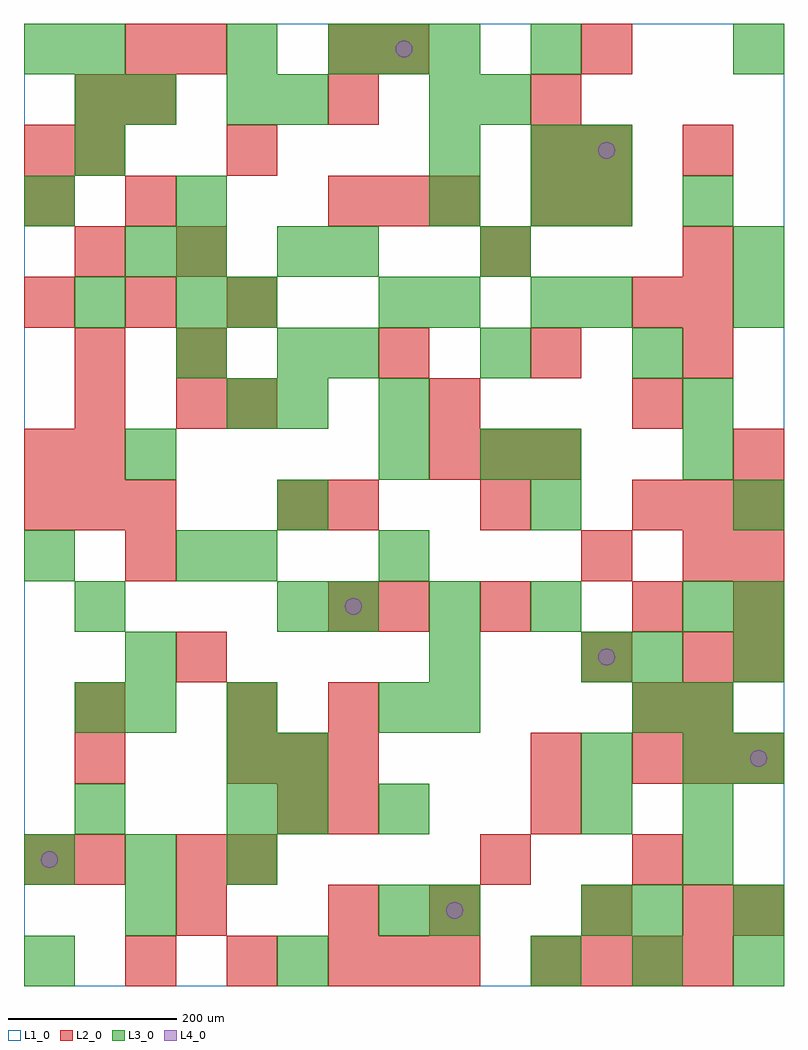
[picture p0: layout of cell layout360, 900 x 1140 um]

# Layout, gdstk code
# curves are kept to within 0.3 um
import gdstk
lib = gdstk.Library(unit=1e-6, precision=1e-09)
def R(c, l, rs):  # rectangles x0, y0, x1, y1
    for r in rs: c.add(gdstk.rectangle(r[:2], r[2:], *l))
def A(c, l, x, y, w, h, nx, ny, dx, dy):  # array of equal rectangles
    R(c, l, [(x+i*dx, y+j*dy, x+i*dx+w, y+j*dy+h) for i in range(nx) for j in range(ny)])
def P(c, l, *ps):  # polygons
    for p in ps: c.add(gdstk.Polygon(p, *l))
L1_0 = (1, 0)
L2_0 = (2, 0)
L3_0 = (3, 0)
L4_0 = (4, 0)

layout360 = lib.new_cell('layout360')
R(layout360, L1_0, [(0,0,900,1140)])
A(layout360, L2_0, 120, 0, 60, 60, 3, 1, 120, 0)
A(layout360, L2_0, 600, 0, 60, 60, 4, 1, 60, 0)
A(layout360, L2_0, 360, 60, 60, 60, 1, 4, 0, 120)
A(layout360, L2_0, 240, 240, 60, 60, 3, 1, 60, 0)
A(layout360, L2_0, 720, 240, 60, 60, 3, 1, 60, 0)
A(layout360, L2_0, 840, 360, 60, 60, 1, 5, 0, 60)
A(layout360, L2_0, 0, 540, 60, 60, 3, 1, 60, 0)
A(layout360, L2_0, 360, 540, 60, 60, 3, 1, 180, 0)
A(layout360, L2_0, 60, 600, 60, 60, 1, 3, 0, 60)
A(layout360, L2_0, 480, 600, 60, 60, 3, 1, 60, 0)
A(layout360, L2_0, 240, 660, 60, 60, 3, 1, 240, 0)
A(layout360, L2_0, 420, 720, 60, 60, 3, 1, 180, 0)
A(layout360, L2_0, 0, 780, 60, 60, 3, 1, 120, 0)
A(layout360, L2_0, 360, 900, 60, 60, 3, 1, 60, 0)
A(layout360, L2_0, 120, 1020, 60, 60, 3, 1, 240, 0)
R(layout360, L2_0, [(420,0,480,60), (480,0,540,60), (180,60,240,120), (480,60,540,120), (660,60,720,120), (780,60,840,120), (840,60,900,120), (0,120,60,180), (60,120,120,180), (180,120,240,180), (240,120,300,180), (540,120,600,180), (720,120,780,180), (300,180,360,240), (600,180,660,240), (60,240,120,300), (600,240,660,300), (60,300,120,360), (240,300,300,360), (720,300,780,360), (780,300,840,360), (180,360,240,420), (660,360,720,420), (780,360,840,420), (420,420,480,480), (540,420,600,480), (720,420,780,480), (120,480,180,540), (660,480,720,540), (780,480,840,540), (300,540,360,600), (780,540,840,600), (0,600,60,660), (180,660,240,720), (180,720,240,780), (720,780,780,840), (780,780,840,840), (60,840,120,900), (180,840,240,900), (540,840,600,900), (780,840,840,900), (0,900,60,960), (120,900,180,960), (600,900,660,960), (660,900,720,960), (0,960,60,1020), (60,960,120,1020), (240,960,300,1020), (600,960,660,1020), (660,960,720,1020), (780,960,840,1020), (60,1020,120,1080), (120,1080,180,1140), (180,1080,240,1140), (360,1080,420,1140), (420,1080,480,1140), (660,1080,720,1140)])
A(layout360, L3_0, 0, 0, 60, 60, 3, 1, 300, 0)
A(layout360, L3_0, 420, 60, 60, 60, 1, 3, 0, 120)
A(layout360, L3_0, 0, 120, 60, 60, 3, 1, 120, 0)
A(layout360, L3_0, 780, 120, 60, 60, 1, 4, 0, 60)
A(layout360, L3_0, 60, 180, 60, 60, 1, 3, 0, 120)
A(layout360, L3_0, 240, 180, 60, 60, 1, 3, 0, 60)
A(layout360, L3_0, 120, 360, 60, 60, 1, 3, 0, 240)
A(layout360, L3_0, 300, 420, 60, 60, 1, 3, 0, 120)
A(layout360, L3_0, 360, 420, 60, 60, 3, 1, 120, 0)
A(layout360, L3_0, 180, 720, 60, 60, 1, 4, 0, 60)
A(layout360, L3_0, 360, 720, 60, 60, 3, 1, 180, 0)
A(layout360, L3_0, 480, 900, 60, 60, 1, 3, 0, 60)
A(layout360, L3_0, 60, 960, 60, 60, 1, 3, 0, 60)
A(layout360, L3_0, 360, 1080, 60, 60, 3, 1, 60, 0)
R(layout360, L3_0, [(720,0,780,60), (840,0,900,60), (120,60,180,120), (480,60,540,120), (660,60,720,120), (720,60,780,120), (840,60,900,120), (300,180,360,240), (660,180,720,240), (300,240,360,300), (660,240,720,300), (840,240,900,300), (120,300,180,360), (480,300,540,360), (720,300,780,360), (480,360,540,420), (660,360,720,420), (720,360,780,420), (840,360,900,420), (780,420,840,480), (840,420,900,480), (0,480,60,540), (180,480,240,540), (240,480,300,540), (420,480,480,540), (600,540,660,600), (840,540,900,600), (420,600,480,660), (540,600,600,660), (600,600,660,660), (780,600,840,660), (240,660,300,720), (420,660,480,720), (780,660,840,720), (300,720,360,780), (60,780,120,840), (240,780,300,840), (420,780,480,840), (480,780,540,840), (600,780,660,840), (660,780,720,840), (840,780,900,840), (300,840,360,900), (360,840,420,900), (540,840,600,900), (840,840,900,900), (0,900,60,960), (600,900,660,960), (660,900,720,960), (780,900,840,960), (600,960,660,1020), (660,960,720,1020), (120,1020,180,1080), (240,1020,300,1080), (300,1020,360,1080), (540,1020,600,1080), (0,1080,60,1140), (240,1080,300,1140), (600,1080,660,1140), (840,1080,900,1140)])
P(layout360, L4_0, [(40,150),(39.239,153.827),(37.071,157.071),(33.827,159.239),(30,160),(26.173,159.239),(22.929,157.071),(20.761,153.827),(20,150),(20.761,146.173),(22.929,142.929),(26.173,140.761),(30,140),(33.827,140.761),(37.071,142.929),(39.239,146.173)],
  [(400,450),(399.239,453.827),(397.071,457.071),(393.827,459.239),(390,460),(386.173,459.239),(382.929,457.071),(380.761,453.827),(380,450),(380.761,446.173),(382.929,442.929),(386.173,440.761),(390,440),(393.827,440.761),(397.071,442.929),(399.239,446.173)],
  [(460,1110),(459.239,1113.827),(457.071,1117.071),(453.827,1119.239),(450,1120),(446.173,1119.239),(442.929,1117.071),(440.761,1113.827),(440,1110),(440.761,1106.173),(442.929,1102.929),(446.173,1100.761),(450,1100),(453.827,1100.761),(457.071,1102.929),(459.239,1106.173)],
  [(520,90),(519.239,93.827),(517.071,97.071),(513.827,99.239),(510,100),(506.173,99.239),(502.929,97.071),(500.761,93.827),(500,90),(500.761,86.173),(502.929,82.929),(506.173,80.761),(510,80),(513.827,80.761),(517.071,82.929),(519.239,86.173)],
  [(700,390),(699.239,393.827),(697.071,397.071),(693.827,399.239),(690,400),(686.173,399.239),(682.929,397.071),(680.761,393.827),(680,390),(680.761,386.173),(682.929,382.929),(686.173,380.761),(690,380),(693.827,380.761),(697.071,382.929),(699.239,386.173)],
  [(700,990),(699.239,993.827),(697.071,997.071),(693.827,999.239),(690,1000),(686.173,999.239),(682.929,997.071),(680.761,993.827),(680,990),(680.761,986.173),(682.929,982.929),(686.173,980.761),(690,980),(693.827,980.761),(697.071,982.929),(699.239,986.173)],
  [(880,270),(879.239,273.827),(877.071,277.071),(873.827,279.239),(870,280),(866.173,279.239),(862.929,277.071),(860.761,273.827),(860,270),(860.761,266.173),(862.929,262.929),(866.173,260.761),(870,260),(873.827,260.761),(877.071,262.929),(879.239,266.173)])

lib.write_gds('layout360.gds')
